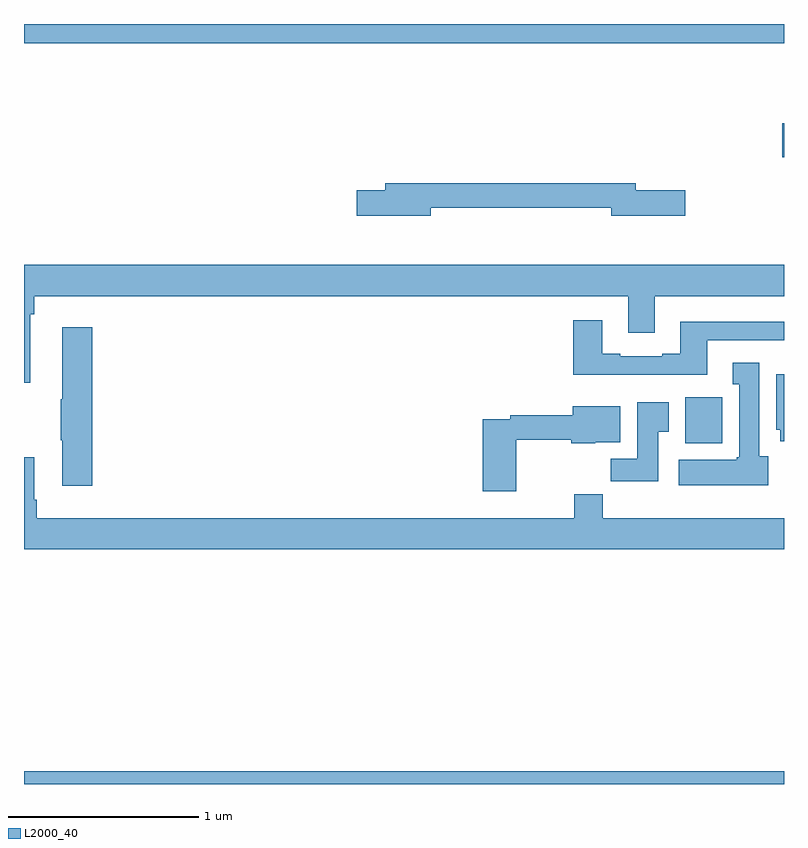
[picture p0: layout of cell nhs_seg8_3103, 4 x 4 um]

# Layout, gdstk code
import gdstk
lib = gdstk.Library(unit=1e-6, precision=1e-09)
def R(c, l, rs):  # rectangles x0, y0, x1, y1
    for r in rs: c.add(gdstk.rectangle(r[:2], r[2:], *l))
def P(c, l, *ps):  # polygons
    for p in ps: c.add(gdstk.Polygon(p, *l))
L2000_40 = (2000, 40)

nhs_seg8_3103 = lib.new_cell('nhs_seg8_3103')
R(nhs_seg8_3103, L2000_40, [(303,1145.9,307,1145.968), (306.479,1147.694,306.676,1147.936), (306.99,1149.2,307,1149.378), (303,1149.8,307,1149.9)])
P(nhs_seg8_3103, L2000_40, [(305.14,1148.934),(306.092,1148.934),(306.092,1148.891),(306.481,1148.891),(306.481,1149.026),(306.22,1149.026),(306.22,1149.062),(304.901,1149.062),(304.901,1149.026),(304.752,1149.026),(304.752,1148.891),(305.14,1148.891)],
  [(303.034,1148.372),(303.053,1148.372),(303.053,1148.468),(306.179,1148.468),(306.179,1148.274),(306.319,1148.274),(306.319,1148.468),(307,1148.468),(307,1148.632),(303,1148.632),(303,1148.013),(303.034,1148.013)],
  [(306.595,1148.235),(307,1148.235),(307,1148.332),(306.455,1148.332),(306.455,1148.164),(306.359,1148.164),(306.359,1148.151),(306.139,1148.151),(306.139,1148.164),(306.043,1148.164),(306.043,1148.341),(305.891,1148.341),(305.891,1148.054),(306.595,1148.054)],
  [(303.359,1148.305),(303.2,1148.305),(303.2,1147.925),(303.193,1147.925),(303.193,1147.708),(303.2,1147.708),(303.2,1147.47),(303.359,1147.47)],
  [(306.916,1147.626),(306.871,1147.626),(306.871,1148.116),(306.731,1148.116),(306.731,1148.003),(306.764,1148.003),(306.764,1147.62),(306.751,1147.62),(306.751,1147.606),(306.447,1147.606),(306.447,1147.472),(306.916,1147.472)],
  [(307,1148.056),(306.959,1148.056),(306.959,1147.764),(306.98,1147.764),(306.98,1147.704),(307,1147.704)],
  [(306.337,1147.753),(306.394,1147.753),(306.394,1147.909),(306.227,1147.909),(306.227,1147.612),(306.088,1147.612),(306.088,1147.494),(306.337,1147.494)],
  [(305.592,1147.713),(305.881,1147.713),(305.881,1147.694),(306.006,1147.694),(306.006,1147.7),(306.139,1147.7),(306.139,1147.888),(305.888,1147.888),(305.888,1147.841),(305.56,1147.841),(305.56,1147.821),(305.414,1147.821),(305.414,1147.44),(305.592,1147.44)],
  [(307,1147.3),(306.047,1147.3),(306.047,1147.424),(305.896,1147.424),(305.896,1147.3),(303.068,1147.3),(303.068,1147.396),(303.055,1147.396),(303.055,1147.621),(303,1147.621),(303,1147.136),(307,1147.136)])

lib.write_gds('nhs_seg8_3103.gds')
